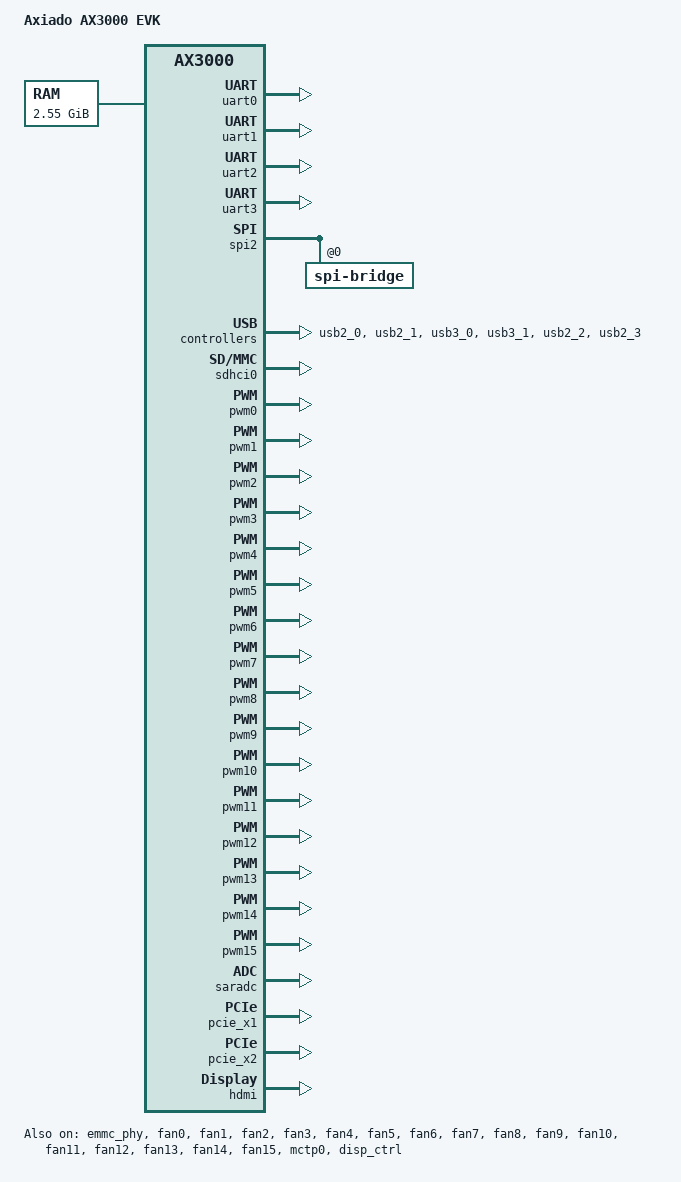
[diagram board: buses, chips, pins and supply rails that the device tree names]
// SPDX-License-Identifier: GPL-2.0+
/*
 * Copyright (c) 2021-25 Axiado Corporation (or its affiliates). All rights reserved.
 */

/dts-v1/;

#include "ax3000.dtsi"

/ {
	model = "Axiado AX3000 EVK";
	compatible = "axiado,ax3000-evk", "axiado,ax3000";
	#address-cells = <2>;
	#size-cells = <2>;

	aliases {
		serial0 = &uart0;
		serial1 = &uart1;
		serial2 = &uart2;
		serial3 = &uart3;
	};

	chosen {
		bootargs = "console=ttyPS3,115200 nr_cpus=4 earlycon";
		stdout-path = "serial3:115200";
	};

	memory@0 {
		device_type = "memory";
		/* Cortex-A53 will use following memory map */
		reg = <0x00000000 0x3d000000 0x00000000 0x23000000>,
		      <0x00000004 0x00000000 0x00000000 0x80000000>;
	};
};

/* GPIO bank 0 - 7 */
&gpio0 {
	status = "okay";
};

&gpio1 {
	status = "okay";
};

&gpio2 {
	status = "okay";
};

&gpio3 {
	status = "okay";
};

&gpio4 {
	status = "okay";
};

&gpio5 {
	status = "okay";
};

&gpio6 {
	status = "okay";
};

&gpio7 {
	status = "okay";
};

&uart0 {
	status = "okay";
};

&uart1 {
	status = "okay";
};

&uart2 {
	status = "okay";
};

&uart3 {
	status = "okay";
};

&spi2 {
	status = "okay";
	spi-bridge@0 {
		status = "okay";
		i2c-ssif@0 {
			status = "okay";
			ssif-bmc@10 {
				status = "okay";
			};
		};
	};
};

&usb2_0 {
	status = "okay";
};

&usb2_1 {
	status = "okay";
};

&usb3_0 {
	status = "okay";
};

&usb3_1 {
	status = "okay";
};

&emmc_phy {
	status = "okay";
};

&sdhci0 {
	status = "okay";
};

&usb2_2 {
	status = "okay";
};

&usb2_3 {
	status = "okay";
};

&axiado_mfd {
	status = "okay";
};

&pwm0 {
	status = "okay";
};

&pwm1 {
	status = "okay";
};

&pwm2 {
	status = "okay";
};

&pwm3 {
	status = "okay";
};

&pwm4 {
	status = "okay";
};

&pwm5 {
	status = "okay";
};

&pwm6 {
	status = "okay";
};

&pwm7 {
	status = "okay";
};

&pwm8 {
	status = "okay";
};

&pwm9 {
	status = "okay";
};

&pwm10 {
	status = "okay";
};

&pwm11 {
	status = "okay";
};

&pwm12 {
	status = "okay";
};

&pwm13 {
	status = "okay";
};

&pwm14 {
	status = "okay";
};

&pwm15 {
	status = "okay";
};

&fan0 {
	status = "okay";
};

&fan1{
	status = "okay";
};

&fan2 {
	status = "okay";
};

&fan3 {
	status = "okay";
};

&fan4 {
	status = "okay";
};

&fan5 {
	status = "okay";
};

&fan6 {
	status = "okay";
};

&fan7 {
	status = "okay";
};

&fan8 {
	status = "okay";
};

&fan9 {
	status = "okay";
};

&fan10 {
	status = "okay";
};

&fan11 {
	status = "okay";
};

&fan12 {
	status = "okay";
};

&fan13 {
	status = "okay";
};

&fan14 {
	status = "okay";
};

&fan15 {
	status = "okay";
};

&saradc {
	status = "okay";
};

&pcie_x1 {
	status = "okay";
};

&pcie_x2 {
	status = "okay";
};

&mctp0 {
	status = "okay";
};

&hdmi {
	status = "okay";
};

&disp_ctrl {
	status = "okay";
};
